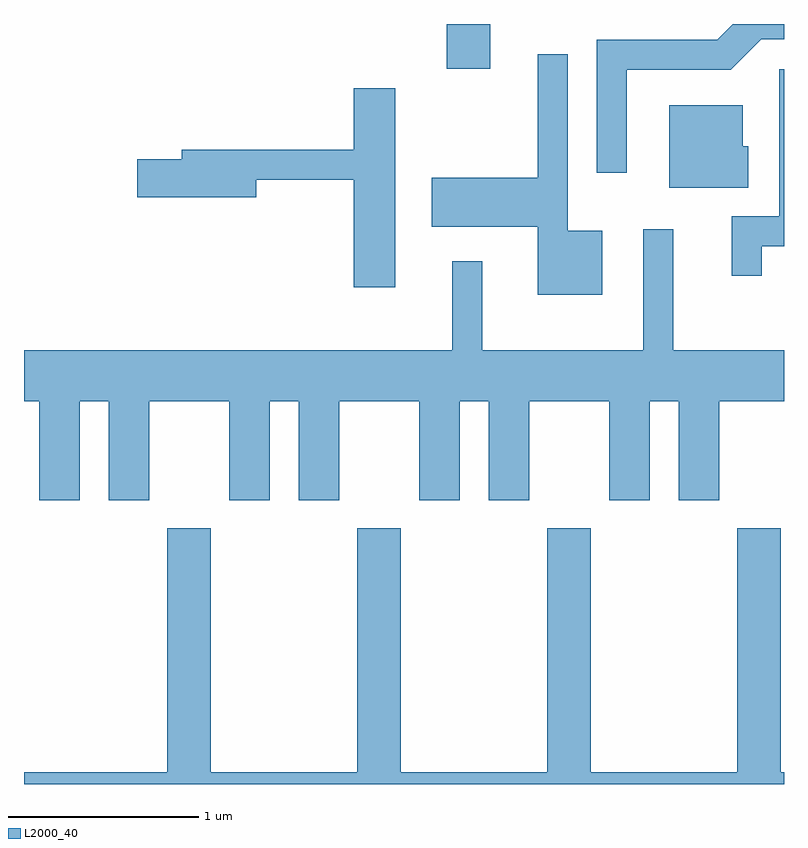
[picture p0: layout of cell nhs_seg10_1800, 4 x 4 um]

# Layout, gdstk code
import gdstk
lib = gdstk.Library(unit=1e-6, precision=1e-09)
def R(c, l, rs):  # rectangles x0, y0, x1, y1
    for r in rs: c.add(gdstk.rectangle(r[:2], r[2:], *l))
def P(c, l, *ps):  # polygons
    for p in ps: c.add(gdstk.Polygon(p, *l))
L2000_40 = (2000, 40)

nhs_seg10_1800 = lib.new_cell('nhs_seg10_1800')
R(nhs_seg10_1800, L2000_40, [(239.836,2162.286,240.064,2162.522)])
P(nhs_seg10_1800, L2000_40, [(240.784,2162.281),(241.332,2162.281),(241.492,2162.441),(241.611,2162.441),(241.611,2162.522),(241.342,2162.522),(241.259,2162.439),(240.626,2162.439),(240.626,2161.738),(240.784,2161.738)],
  [(240.654,2161.434),(240.474,2161.434),(240.474,2162.363),(240.316,2162.363),(240.316,2161.714),(239.756,2161.714),(239.756,2161.456),(240.316,2161.456),(240.316,2161.096),(240.654,2161.096)],
  [(241.494,2161.351),(241.611,2161.351),(241.611,2162.284),(241.586,2162.284),(241.586,2161.509),(241.336,2161.509),(241.336,2161.198),(241.494,2161.198)],
  [(239.564,2162.184),(239.346,2162.184),(239.346,2161.859),(238.441,2161.859),(238.441,2161.809),(238.206,2161.809),(238.206,2161.611),(238.834,2161.611),(238.834,2161.701),(239.346,2161.701),(239.346,2161.136),(239.564,2161.136)],
  [(241.424,2161.879),(241.394,2161.879),(241.394,2162.094),(241.006,2162.094),(241.006,2161.661),(241.424,2161.661)],
  [(237.904,2160.536),(238.056,2160.536),(238.056,2160.016),(238.269,2160.016),(238.269,2160.536),(238.691,2160.536),(238.691,2160.016),(238.904,2160.016),(238.904,2160.536),(239.056,2160.536),(239.056,2160.016),(239.269,2160.016),(239.269,2160.536),(239.691,2160.536),(239.691,2160.016),(239.904,2160.016),(239.904,2160.536),(240.056,2160.536),(240.056,2160.016),(240.269,2160.016),(240.269,2160.536),(240.691,2160.536),(240.691,2160.016),(240.904,2160.016),(240.904,2160.536),(241.056,2160.536),(241.056,2160.016),(241.269,2160.016),(241.269,2160.536),(241.611,2160.536),(241.611,2160.804),(241.029,2160.804),(241.029,2161.443),(240.871,2161.443),(240.871,2160.804),(240.024,2160.804),(240.024,2161.273),(239.866,2161.273),(239.866,2160.804),(237.611,2160.804),(237.611,2160.536),(237.691,2160.536),(237.691,2160.016),(237.904,2160.016)],
  [(241.611,2158.584),(241.594,2158.584),(241.594,2159.869),(241.366,2159.869),(241.366,2158.584),(240.594,2158.584),(240.594,2159.869),(240.366,2159.869),(240.366,2158.584),(239.594,2158.584),(239.594,2159.869),(239.366,2159.869),(239.366,2158.584),(238.594,2158.584),(238.594,2159.869),(238.366,2159.869),(238.366,2158.584),(237.611,2158.584),(237.611,2158.522),(241.611,2158.522)])

lib.write_gds('nhs_seg10_1800.gds')
